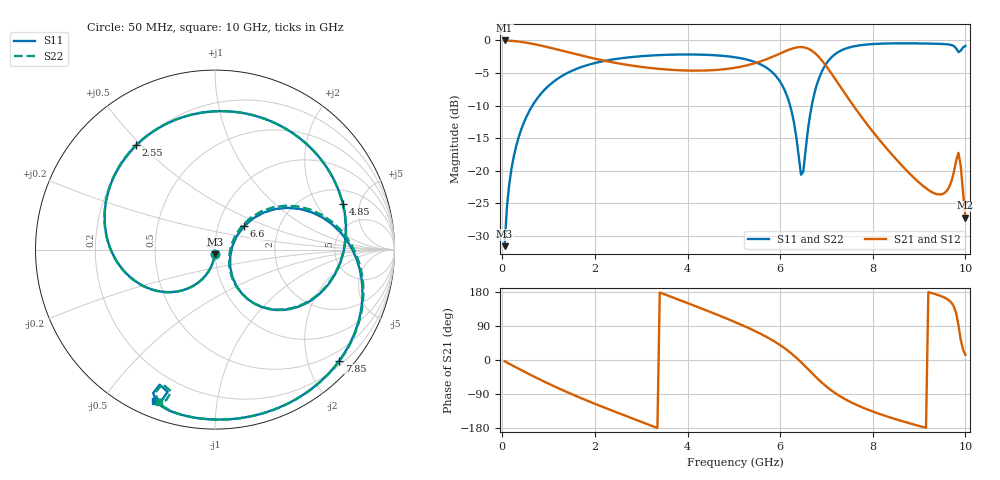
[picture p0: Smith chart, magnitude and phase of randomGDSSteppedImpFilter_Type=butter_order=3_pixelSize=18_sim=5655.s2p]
! freq	dB(S11)	phase(S11)	dB(S12)	phase(S12)
!  dB(S21)	phase(S21)	dB(S22)	phase(S22)
!S-par simulation data
#  GHz  S  DB  R 50
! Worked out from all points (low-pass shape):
!   200 points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, 50 MHz to 10 GHz, reference 50 ohm
!   highest |S21| = -0.01 dB at 50 MHz (marker M1); lowest = -27.2 dB at 10 GHz (marker M2)
!   |S21| within 3 dB of the highest: start of sweep to 2.133 GHz; 5.66 GHz to 6.892 GHz (1.233 GHz wide, 19.6 % of centre)
!   lowest |S11| = -31.5 dB at 50 MHz (marker M3), VSWR 1.05, Z = 49.8 - j2.63 ohm
!   |S11| at or under -10 dB: start of sweep to 650.2 MHz; 6.214 GHz to 6.683 GHz (468.5 MHz wide, 7.26 % of centre)
!   |S22| runs from -31.5 to -0.4 dB; largest |S21 - S12| = 0
!   S11 on the Smith chart (normalised r, x): 50 MHz: 1.00, -0.05; 2.55 GHz: 0.19, +0.48; 4.85 GHz: 2.93, +3.46; 6.6 GHz: 1.33, +0.36; 7.85 GHz: 0.29, -2.59; 10 GHz: 0.07, -0.68
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0.05  -31.55 -93.5  -0.01 -3.3  -0.01 -3.3  -31.55 -93.5
0.2  -19.62 -103.6  -0.07 -13.1  -0.07 -13.1  -19.62 -103.6
0.5  -12.04 -123.0  -0.33 -32.4  -0.33 -32.4  -12.04 -122.9
1.05  -6.65 -156.1  -1.15 -65.4  -1.15 -65.4  -6.65 -155.9
1.75  -3.98 166.1  -2.39 -103.1  -2.39 -103.1  -3.98 166.5
2.55  -2.75 127.0  -3.58 -142.1  -3.58 -142.1  -2.75 127.6
3.4  -2.25 87.5  -4.37 178.3  -4.37 178.3  -2.25 88.1
4.1  -2.16 55.0  -4.63 145.5  -4.63 145.5  -2.16 55.8
4.85  -2.42 19.5  -4.37 109.1  -4.37 109.1  -2.42 20.3
5.05  -2.61 9.6  -4.16 98.8  -4.16 98.8  -2.61 10.4
5.95  -5.83 -41.1  -2.16 43.3  -2.16 43.3  -5.84 -40.7
6.25  -10.95 -58.7  -1.28 16.5  -1.28 16.5  -11.00 -58.9
6.45  -20.59 -25.1  -1.02 -5.6  -1.02 -5.6  -21.22 -25.5
6.6  -13.69 38.8  -1.25 -23.8  -1.25 -23.8  -13.82 41.6
6.7  -9.35 37.3  -1.66 -36.2  -1.66 -36.2  -9.39 39.4
6.9  -4.77 21.1  -3.07 -59.6  -3.07 -59.6  -4.78 22.7
7.2  -2.04 -3.9  -6.03 -88.3  -6.03 -88.3  -2.04 -2.6
7.85  -0.64 -41.8  -12.61 -128.9  -12.61 -128.9  -0.64 -40.7
8.35  -0.46 -62.6  -16.98 -150.7  -16.98 -150.7  -0.46 -61.5
9.45  -0.53 -99.9  -23.63 169.7  -23.63 169.7  -0.53 -99.0
9.85  -1.79 -112.2  -17.24 92.0  -17.24 92.0  -1.90 -111.4
10  -0.84 -111.5  -27.18 13.7  -27.18 13.7  -0.85 -110.2
